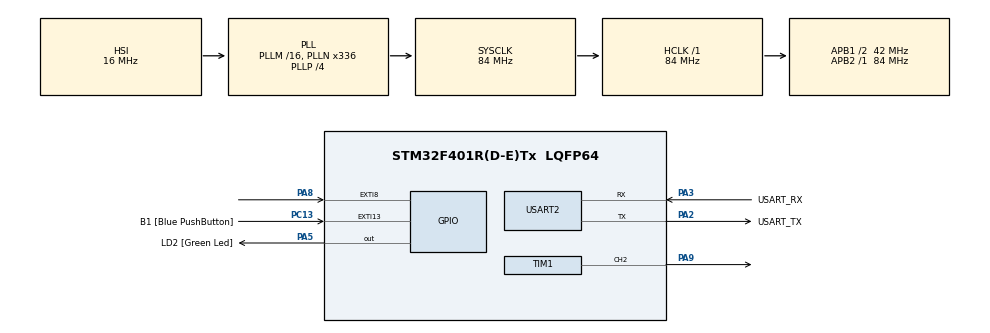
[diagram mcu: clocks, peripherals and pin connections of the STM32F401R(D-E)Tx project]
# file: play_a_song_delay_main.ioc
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Mcu.Family=STM32F4
Mcu.Name=STM32F401R(D-E)Tx
Mcu.Package=LQFP64
NVIC.EXTI9_5_IRQn=true\:0\:0\:false\:false\:true\:true\:true
NVIC.PriorityGroup=NVIC_PRIORITYGROUP_0
PA13.GPIO_Label=TMS
PA13.Mode=Serial_Wire
PA13.Signal=SYS_JTMS-SWDIO
PA14.GPIO_Label=TCK
PA14.Mode=Serial_Wire
PA14.Signal=SYS_JTCK-SWCLK
PA2.GPIO_Label=USART_TX
PA2.GPIO_Mode=GPIO_MODE_AF_PP
PA2.GPIO_PuPd=GPIO_NOPULL
PA2.GPIO_Speed=GPIO_SPEED_FREQ_LOW
PA2.Mode=Asynchronous
PA2.Signal=USART2_TX
PA3.GPIO_Label=USART_RX
PA3.GPIO_Mode=GPIO_MODE_AF_PP
PA3.GPIO_PuPd=GPIO_NOPULL
PA3.GPIO_Speed=GPIO_SPEED_FREQ_LOW
PA3.Mode=Asynchronous
PA3.Signal=USART2_RX
PA5.GPIO_Label=LD2 [Green Led]
PA5.GPIO_Mode=GPIO_MODE_OUTPUT_PP
PA5.GPIO_PuPd=GPIO_NOPULL
PA5.GPIO_Speed=GPIO_SPEED_FREQ_LOW
PA5.Signal=GPIO_Output
PA8.Signal=GPXTI8
PA9.Signal=S_TIM1_CH2
PB3.GPIO_Label=SWO
PB3.Signal=SYS_JTDO-SWO
PC13-ANTI_TAMP.GPIO_Label=B1 [Blue PushButton]
PC13-ANTI_TAMP.GPIO_ModeDefaultEXTI=GPIO_MODE_IT_FALLING
PC13-ANTI_TAMP.GPIO_PuPd=GPIO_NOPULL
PC13-ANTI_TAMP.Signal=GPXTI13
PC14-OSC32_IN.Mode=LSE-External-Oscillator
PC14-OSC32_IN.Signal=RCC_OSC32_IN
PC15-OSC32_OUT.Mode=LSE-External-Oscillator
PC15-OSC32_OUT.Signal=RCC_OSC32_OUT
PH0\ -\ OSC_IN.Mode=HSE-External-Clock-Source
PH0\ -\ OSC_IN.Signal=RCC_OSC_IN
PH1\ -\ OSC_OUT.Mode=HSE-External-Clock-Source
PH1\ -\ OSC_OUT.Signal=RCC_OSC_OUT
ProjectManager.HeapSize=0x200
ProjectManager.StackSize=0x400
ProjectManager.TargetToolchain=STM32CubeIDE
RCC.48MHZClocksFreq_Value=48000000
RCC.AHBFreq_Value=84000000
RCC.APB1CLKDivider=RCC_HCLK_DIV2
RCC.APB1Freq_Value=42000000
RCC.APB1TimFreq_Value=84000000
RCC.APB2Freq_Value=84000000
RCC.APB2TimFreq_Value=84000000
RCC.CortexFreq_Value=84000000
RCC.HCLKFreq_Value=84000000
RCC.HSE_VALUE=8000000
RCC.HSI_VALUE=16000000
RCC.PLLN=336
RCC.PLLP=RCC_PLLP_DIV4
RCC.PLLQ=7
RCC.SYSCLKFreq_VALUE=84000000
RCC.SYSCLKSource=RCC_SYSCLKSOURCE_PLLCLK
RCC.VCOOutputFreq_Value=336000000
SH.S_TIM1_CH2.0=TIM1_CH2,PWM Generation2 CH2
TIM1.Channel-PWM\ Generation2\ CH2=TIM_CHANNEL_2
TIM1.Period=1005 - 1
TIM1.Prescaler=190 - 1
TIM1.Pulse-PWM\ Generation2\ CH2=503 - 1
USART2.VirtualMode=VM_ASYNC
VP_TIM1_VS_ClockSourceINT.Mode=Internal
board=NUCLEO-F401RE

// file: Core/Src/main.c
/* USER CODE BEGIN Header */
/**
  ******************************************************************************
  * @file           : main.c
  * @brief          : Main program body
  ******************************************************************************
  * @attention
  *
  * <h2><center>&copy; Copyright (c) 2021 STMicroelectronics.
  * All rights reserved.</center></h2>
  *
  * This software component is licensed by ST under BSD 3-Clause license,
  * the "License"; You may not use this file except in compliance with the
  * License. You may obtain a copy of the License at:
  *                        opensource.org/licenses/BSD-3-Clause
  *
  ******************************************************************************
  */
/* USER CODE END Header */
#include "main.h"

/* USER CODE BEGIN PTD */
typedef struct{
	int tone;
	int duration;
}Note;
/* USER CODE END PTD */

/* USER CODE BEGIN PD */

#define BLUE_BUTTON 			GPIOC, GPIO_PIN_13
#define LED_PIN					GPIOA, GPIO_PIN_5
#define MICROPHONE				GPIOA, GPIO_PIN_8

#define TEMPO	75

#define _DO4	3205
#define _DOD4	3031
#define _RE4	2856
#define _RED4	2699
#define _MI4	2544
#define _FA4	2405
#define _FAD4	2269
#define _SOL4	2141
#define _SOLD4	2023
#define _LA4	1908
#define _LAD4	1801
#define _SI4	1699

/* USER CODE END PD */

TIM_HandleTypeDef htim1;

UART_HandleTypeDef huart2;

/* USER CODE BEGIN PV */

/*
 * LONDON BRIDGE IS FALLING DOWN
 */
Note score[] = {
		{_SOL4, 6},
		{_LA4, 2},
		{_SOL4, 4},
		{_FA4, 4},
		{_MI4, 4},
		{_FA4, 4},
		{_SOL4, 8},
		{_RE4, 4},
		{_MI4, 4},
		{_FA4, 8},
		{_MI4, 4},
		{_FA4, 4},
		{_SOL4, 8},
		{_SOL4, 6},
		{_LA4, 2},
		{_SOL4, 4},
		{_FA4, 4},
		{_MI4, 4},
		{_FA4, 4},
		{_SOL4, 8},
		{_RE4, 8},
		{_SOL4, 8},
		{_MI4, 4},
		{_DO4, 12}
};
/* USER CODE END PV */

void SystemClock_Config(void);
static void MX_GPIO_Init(void);
static void MX_USART2_UART_Init(void);
static void MX_TIM1_Init(void);
/* USER CODE BEGIN PFP */

void playnote(Note note);
void playscore(void);

/* USER CODE END PFP */

/* USER CODE BEGIN 0 */

/**
 * Sets up TIM1, then starts the PWM generation
 */
void playnote(Note note){
	  TIM_OC_InitTypeDef sConfigOC = {0};

	  /**
	   * TIM1 update of Period (TIM1->ARR) and Pulse (TIM1 Duty Cycle)
	   * 	For each note, we set the corresponding equivalent frequency through the TIM1->ARR peripheral register
	   * 	After the setup, PWM generation begins
	   * */
	  htim1.Instance = TIM1;
	  htim1.Init.Prescaler = 100 - 1;
	  htim1.Init.CounterMode = TIM_COUNTERMODE_UP;
	  htim1.Init.Period = note.tone;
	  htim1.Init.ClockDivision = TIM_CLOCKDIVISION_DIV1;
	  htim1.Init.RepetitionCounter = 0;
	  htim1.Init.AutoReloadPreload = TIM_AUTORELOAD_PRELOAD_DISABLE;
	  if (HAL_TIM_Base_Init(&htim1) != HAL_OK)
	  {
	    Error_Handler();
	  }
	  if (HAL_TIM_PWM_Init(&htim1) != HAL_OK)
	  {
	    Error_Handler();
	  }

	  sConfigOC.OCMode = TIM_OCMODE_PWM1;
	  sConfigOC.Pulse = note.tone / 2;
	  sConfigOC.OCPolarity = TIM_OCPOLARITY_HIGH;
	  sConfigOC.OCNPolarity = TIM_OCNPOLARITY_HIGH;
	  sConfigOC.OCFastMode = TIM_OCFAST_DISABLE;
	  sConfigOC.OCIdleState = TIM_OCIDLESTATE_RESET;
	  sConfigOC.OCNIdleState = TIM_OCNIDLESTATE_RESET;
	  if (HAL_TIM_PWM_ConfigChannel(&htim1, &sConfigOC, TIM_CHANNEL_2) != HAL_OK)
	  {
	    Error_Handler();
	  }

	  HAL_TIM_PWM_Start(&htim1, TIM_CHANNEL_2);
	  HAL_Delay(note.duration * TEMPO);
	  HAL_TIM_PWM_Stop(&htim1, TIM_CHANNEL_2);

}

void playscore(){
	int length = sizeof(score)/sizeof(score[0]);

	for (int i = 0; i < length; ++i) {
		playnote(score[i]);
	}
}

/* USER CODE END 0 */

int main(void)
{

  /* MCU Configuration--------------------------------------------------------*/

  /* Reset of all peripherals, Initializes the Flash interface and the Systick. */
  HAL_Init();

  /* Configure the system clock */
  SystemClock_Config();

  /* Initialize all configured peripherals */
  MX_GPIO_Init();
  MX_USART2_UART_Init();
  MX_TIM1_Init();
  /* USER CODE BEGIN 2 */
  playscore();
  /* USER CODE END 2 */

  /* Infinite loop */
  while (1)
  {

  }
}

void SystemClock_Config(void)
{
  RCC_OscInitTypeDef RCC_OscInitStruct = {0};
  RCC_ClkInitTypeDef RCC_ClkInitStruct = {0};

  /** Configure the main internal regulator output voltage
  */
  __HAL_RCC_PWR_CLK_ENABLE();
  __HAL_PWR_VOLTAGESCALING_CONFIG(PWR_REGULATOR_VOLTAGE_SCALE2);
  /** Initializes the RCC Oscillators according to the specified parameters
  * in the RCC_OscInitTypeDef structure.
  */
  RCC_OscInitStruct.OscillatorType = RCC_OSCILLATORTYPE_HSI;
  RCC_OscInitStruct.HSIState = RCC_HSI_ON;
  RCC_OscInitStruct.HSICalibrationValue = RCC_HSICALIBRATION_DEFAULT;
  RCC_OscInitStruct.PLL.PLLState = RCC_PLL_ON;
  RCC_OscInitStruct.PLL.PLLSource = RCC_PLLSOURCE_HSI;
  RCC_OscInitStruct.PLL.PLLM = 16;
  RCC_OscInitStruct.PLL.PLLN = 336;
  RCC_OscInitStruct.PLL.PLLP = RCC_PLLP_DIV4;
  RCC_OscInitStruct.PLL.PLLQ = 7;
  if (HAL_RCC_OscConfig(&RCC_OscInitStruct) != HAL_OK)
  {
    Error_Handler();
  }
  /** Initializes the CPU, AHB and APB buses clocks
  */
  RCC_ClkInitStruct.ClockType = RCC_CLOCKTYPE_HCLK|RCC_CLOCKTYPE_SYSCLK
                              |RCC_CLOCKTYPE_PCLK1|RCC_CLOCKTYPE_PCLK2;
  RCC_ClkInitStruct.SYSCLKSource = RCC_SYSCLKSOURCE_PLLCLK;
  RCC_ClkInitStruct.AHBCLKDivider = RCC_SYSCLK_DIV1;
  RCC_ClkInitStruct.APB1CLKDivider = RCC_HCLK_DIV2;
  RCC_ClkInitStruct.APB2CLKDivider = RCC_HCLK_DIV1;

  if (HAL_RCC_ClockConfig(&RCC_ClkInitStruct, FLASH_LATENCY_2) != HAL_OK)
  {
    Error_Handler();
  }
}

static void MX_TIM1_Init(void)
{

  TIM_ClockConfigTypeDef sClockSourceConfig = {0};
  TIM_MasterConfigTypeDef sMasterConfig = {0};
  TIM_OC_InitTypeDef sConfigOC = {0};
  TIM_BreakDeadTimeConfigTypeDef sBreakDeadTimeConfig = {0};

  htim1.Instance = TIM1;
  htim1.Init.Prescaler = 190 - 1;
  htim1.Init.CounterMode = TIM_COUNTERMODE_UP;
  htim1.Init.Period = 1005 - 1;
  htim1.Init.ClockDivision = TIM_CLOCKDIVISION_DIV1;
  htim1.Init.RepetitionCounter = 0;
  htim1.Init.AutoReloadPreload = TIM_AUTORELOAD_PRELOAD_DISABLE;
  if (HAL_TIM_Base_Init(&htim1) != HAL_OK)
  {
    Error_Handler();
  }
  sClockSourceConfig.ClockSource = TIM_CLOCKSOURCE_INTERNAL;
  if (HAL_TIM_ConfigClockSource(&htim1, &sClockSourceConfig) != HAL_OK)
  {
    Error_Handler();
  }
  if (HAL_TIM_PWM_Init(&htim1) != HAL_OK)
  {
    Error_Handler();
  }
  sMasterConfig.MasterOutputTrigger = TIM_TRGO_RESET;
  sMasterConfig.MasterSlaveMode = TIM_MASTERSLAVEMODE_DISABLE;
  if (HAL_TIMEx_MasterConfigSynchronization(&htim1, &sMasterConfig) != HAL_OK)
  {
    Error_Handler();
  }
  sConfigOC.OCMode = TIM_OCMODE_PWM1;
  sConfigOC.Pulse = 503 - 1;
  sConfigOC.OCPolarity = TIM_OCPOLARITY_HIGH;
  sConfigOC.OCNPolarity = TIM_OCNPOLARITY_HIGH;
  sConfigOC.OCFastMode = TIM_OCFAST_DISABLE;
  sConfigOC.OCIdleState = TIM_OCIDLESTATE_RESET;
  sConfigOC.OCNIdleState = TIM_OCNIDLESTATE_RESET;
  if (HAL_TIM_PWM_ConfigChannel(&htim1, &sConfigOC, TIM_CHANNEL_2) != HAL_OK)
  {
    Error_Handler();
  }
  sBreakDeadTimeConfig.OffStateRunMode = TIM_OSSR_DISABLE;
  sBreakDeadTimeConfig.OffStateIDLEMode = TIM_OSSI_DISABLE;
  sBreakDeadTimeConfig.LockLevel = TIM_LOCKLEVEL_OFF;
  sBreakDeadTimeConfig.DeadTime = 0;
  sBreakDeadTimeConfig.BreakState = TIM_BREAK_DISABLE;
  sBreakDeadTimeConfig.BreakPolarity = TIM_BREAKPOLARITY_HIGH;
  sBreakDeadTimeConfig.AutomaticOutput = TIM_AUTOMATICOUTPUT_DISABLE;
  if (HAL_TIMEx_ConfigBreakDeadTime(&htim1, &sBreakDeadTimeConfig) != HAL_OK)
  {
    Error_Handler();
  }
  HAL_TIM_MspPostInit(&htim1);

}

static void MX_USART2_UART_Init(void)
{

  huart2.Instance = USART2;
  huart2.Init.BaudRate = 115200;
  huart2.Init.WordLength = UART_WORDLENGTH_8B;
  huart2.Init.StopBits = UART_STOPBITS_1;
  huart2.Init.Parity = UART_PARITY_NONE;
  huart2.Init.Mode = UART_MODE_TX_RX;
  huart2.Init.HwFlowCtl = UART_HWCONTROL_NONE;
  huart2.Init.OverSampling = UART_OVERSAMPLING_16;
  if (HAL_UART_Init(&huart2) != HAL_OK)
  {
    Error_Handler();
  }

}

static void MX_GPIO_Init(void)
{
  GPIO_InitTypeDef GPIO_InitStruct = {0};

  /* GPIO Ports Clock Enable */
  __HAL_RCC_GPIOC_CLK_ENABLE();
  __HAL_RCC_GPIOH_CLK_ENABLE();
  __HAL_RCC_GPIOA_CLK_ENABLE();
  __HAL_RCC_GPIOB_CLK_ENABLE();

  /*Configure GPIO pin : B1_Pin */
  GPIO_InitStruct.Pin = B1_Pin;
  GPIO_InitStruct.Mode = GPIO_MODE_IT_RISING_FALLING;
  GPIO_InitStruct.Pull = GPIO_NOPULL;
  HAL_GPIO_Init(B1_GPIO_Port, &GPIO_InitStruct);

  /*Configure GPIO pin : PA8 */
  GPIO_InitStruct.Pin = GPIO_PIN_8;
  GPIO_InitStruct.Mode = GPIO_MODE_IT_RISING_FALLING;
  GPIO_InitStruct.Pull = GPIO_NOPULL;
  HAL_GPIO_Init(GPIOA, &GPIO_InitStruct);

  /* EXTI interrupt init*/
  HAL_NVIC_SetPriority(EXTI9_5_IRQn, 0, 0);
  HAL_NVIC_EnableIRQ(EXTI9_5_IRQn);

  HAL_NVIC_SetPriority(EXTI15_10_IRQn, 0, 0);
  HAL_NVIC_EnableIRQ(EXTI15_10_IRQn);

}

void Error_Handler(void)
{
  __disable_irq();
  while (1)
  {
  }
}

/************************ (C) COPYRIGHT STMicroelectronics *****END OF FILE****/
